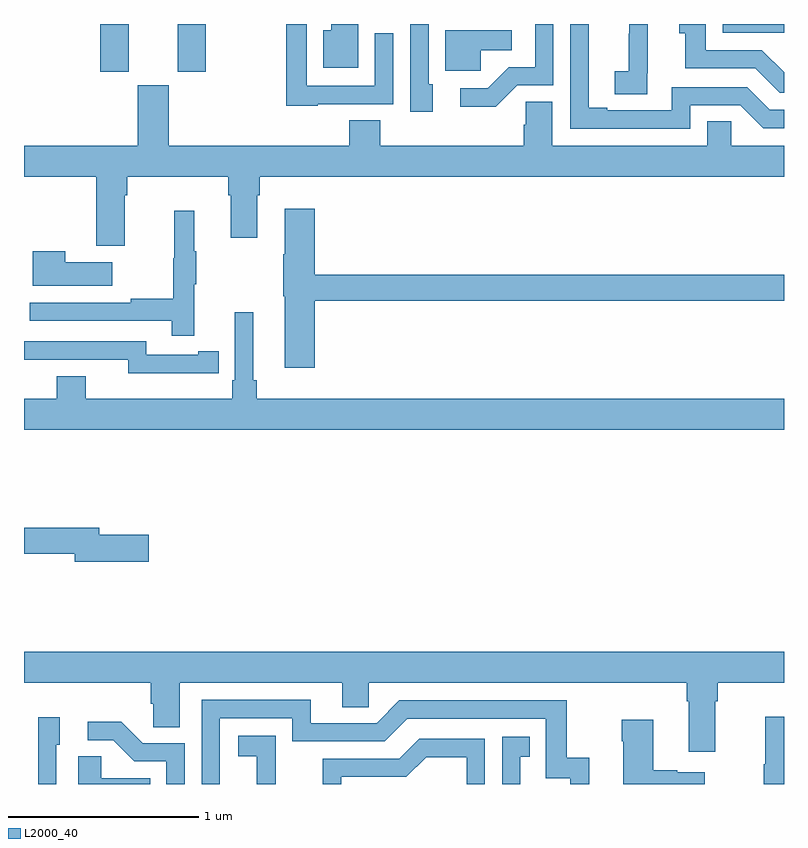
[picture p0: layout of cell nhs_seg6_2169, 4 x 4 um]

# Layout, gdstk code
import gdstk
lib = gdstk.Library(unit=1e-6, precision=1e-09)
def R(c, l, rs):  # rectangles x0, y0, x1, y1
    for r in rs: c.add(gdstk.rectangle(r[:2], r[2:], *l))
def P(c, l, *ps):  # polygons
    for p in ps: c.add(gdstk.Polygon(p, *l))
L2000_40 = (2000, 40)

nhs_seg6_2169 = lib.new_cell('nhs_seg6_2169')
R(nhs_seg6_2169, L2000_40, [(241.4,921.249,241.552,921.5), (241.808,921.249,241.956,921.5), (244.677,921.453,245,921.5)])
P(nhs_seg6_2169, L2000_40, [(245,921.247),(244.884,921.363),(244.588,921.363),(244.588,921.5),(244.448,921.5),(244.448,921.451),(244.481,921.451),(244.481,921.267),(244.848,921.267),(244.977,921.138),(245,921.138)],
  [(243.151,921.183),(243.129,921.183),(243.129,921.5),(243.033,921.5),(243.033,921.039),(243.151,921.039)],
  [(244.506,921.072),(244.77,921.072),(244.89,920.952),(245,920.952),(245,921.048),(244.926,921.048),(244.806,921.168),(244.41,921.168),(244.41,921.045),(244.069,921.045),(244.069,921.06),(243.973,921.06),(243.973,921.5),(243.876,921.5),(243.876,920.949),(244.506,920.949)],
  [(242.758,921.5),(242.618,921.5),(242.618,921.466),(242.576,921.466),(242.576,921.269),(242.758,921.269)],
  [(244.28,921.241),(244.282,921.241),(244.282,921.5),(244.185,921.5),(244.185,921.449),(244.184,921.449),(244.184,921.252),(244.11,921.252),(244.11,921.13),(244.28,921.13)],
  [(243.597,921.177),(243.786,921.177),(243.786,921.5),(243.69,921.5),(243.69,921.273),(243.552,921.273),(243.441,921.162),(243.297,921.162),(243.297,921.065),(243.484,921.065)],
  [(242.547,921.078),(242.943,921.078),(242.943,921.451),(242.847,921.451),(242.847,921.174),(242.487,921.174),(242.487,921.5),(242.379,921.5),(242.379,921.071),(242.547,921.071)],
  [(243.405,921.362),(243.568,921.362),(243.568,921.466),(243.218,921.466),(243.218,921.255),(243.405,921.255)],
  [(241.531,920.6),(241.544,920.6),(241.544,920.696),(242.075,920.696),(242.075,920.6),(242.087,920.6),(242.087,920.376),(242.227,920.376),(242.227,920.6),(242.24,920.6),(242.24,920.696),(245,920.696),(245,920.86),(244.722,920.86),(244.722,920.987),(244.595,920.987),(244.595,920.86),(243.781,920.86),(243.781,921.092),(243.642,921.092),(243.642,920.969),(243.629,920.969),(243.629,920.86),(242.876,920.86),(242.876,920.993),(242.711,920.993),(242.711,920.86),(241.762,920.86),(241.762,921.177),(241.598,921.177),(241.598,920.86),(241,920.86),(241,920.696),(241.379,920.696),(241.379,920.334),(241.531,920.334)],
  [(242.531,920.044),(245,920.044),(245,920.18),(242.531,920.18),(242.531,920.527),(242.372,920.527),(242.372,920.288),(242.365,920.288),(242.365,920.067),(242.372,920.067),(242.372,919.692),(242.531,919.692)],
  [(241.895,920.131),(241.906,920.131),(241.906,920.305),(241.895,920.305),(241.895,920.518),(241.792,920.518),(241.792,920.268),(241.785,920.268),(241.785,920.054),(241.561,920.054),(241.561,920.034),(241.029,920.034),(241.029,919.938),(241.777,919.938),(241.777,919.86),(241.895,919.86)],
  [(241.465,920.245),(241.217,920.245),(241.217,920.305),(241.046,920.305),(241.046,920.123),(241.465,920.123)],
  [(245,919.528),(242.225,919.528),(242.225,919.624),(242.206,919.624),(242.206,919.984),(242.109,919.984),(242.109,919.624),(242.096,919.624),(242.096,919.528),(241.324,919.528),(241.324,919.645),(241.172,919.645),(241.172,919.528),(241,919.528),(241,919.364),(245,919.364)],
  [(241.916,919.662),(242.024,919.662),(242.024,919.778),(241.916,919.778),(241.916,919.758),(241.644,919.758),(241.644,919.83),(241,919.83),(241,919.733),(241.088,919.733),(241.088,919.734),(241.548,919.734),(241.548,919.661),(241.916,919.661)],
  [(241.657,918.812),(241.396,918.812),(241.396,918.848),(241,918.848),(241,918.712),(241.268,918.712),(241.268,918.67),(241.657,918.67)],
  [(244.639,917.936),(244.652,917.936),(244.652,918.032),(245,918.032),(245,918.196),(241,918.196),(241,918.032),(241.667,918.032),(241.667,917.923),(241.68,917.923),(241.68,917.8),(241.819,917.8),(241.819,918.032),(242.675,918.032),(242.675,917.905),(242.814,917.905),(242.814,918.032),(244.487,918.032),(244.487,917.936),(244.499,917.936),(244.499,917.67),(244.639,917.67)],
  [(242.031,917.847),(242.412,917.847),(242.412,917.724),(242.898,917.724),(243.018,917.844),(243.747,917.844),(243.747,917.529),(243.876,917.529),(243.876,917.5),(243.974,917.5),(243.974,917.638),(243.856,917.638),(243.856,917.94),(242.976,917.94),(242.856,917.82),(242.509,917.82),(242.509,917.943),(241.935,917.943),(241.935,917.5),(242.031,917.5)],
  [(245,917.854),(244.9,917.854),(244.9,917.604),(244.893,917.604),(244.893,917.5),(245,917.5)],
  [(241.17,917.706),(241.189,917.706),(241.189,917.851),(241.074,917.851),(241.074,917.5),(241.17,917.5)],
  [(244.582,917.563),(244.439,917.563),(244.439,917.573),(244.312,917.573),(244.312,917.839),(244.147,917.839),(244.147,917.726),(244.154,917.726),(244.154,917.5),(244.582,917.5)],
  [(241.845,917.715),(241.626,917.715),(241.513,917.828),(241.335,917.828),(241.335,917.73),(241.469,917.73),(241.58,917.619),(241.749,917.619),(241.749,917.5),(241.845,917.5)],
  [(242.324,917.549),(242.325,917.549),(242.325,917.755),(242.127,917.755),(242.127,917.645),(242.225,917.645),(242.225,917.5),(242.324,917.5)],
  [(243.613,917.643),(243.662,917.643),(243.662,917.749),(243.516,917.749),(243.516,917.5),(243.613,917.5)],
  [(242.67,917.538),(243.012,917.538),(243.116,917.642),(243.33,917.642),(243.33,917.5),(243.426,917.5),(243.426,917.739),(243.08,917.739),(242.975,917.634),(242.572,917.634),(242.572,917.5),(242.67,917.5)],
  [(241.664,917.53),(241.407,917.53),(241.407,917.645),(241.286,917.645),(241.286,917.5),(241.664,917.5)])

lib.write_gds('nhs_seg6_2169.gds')
